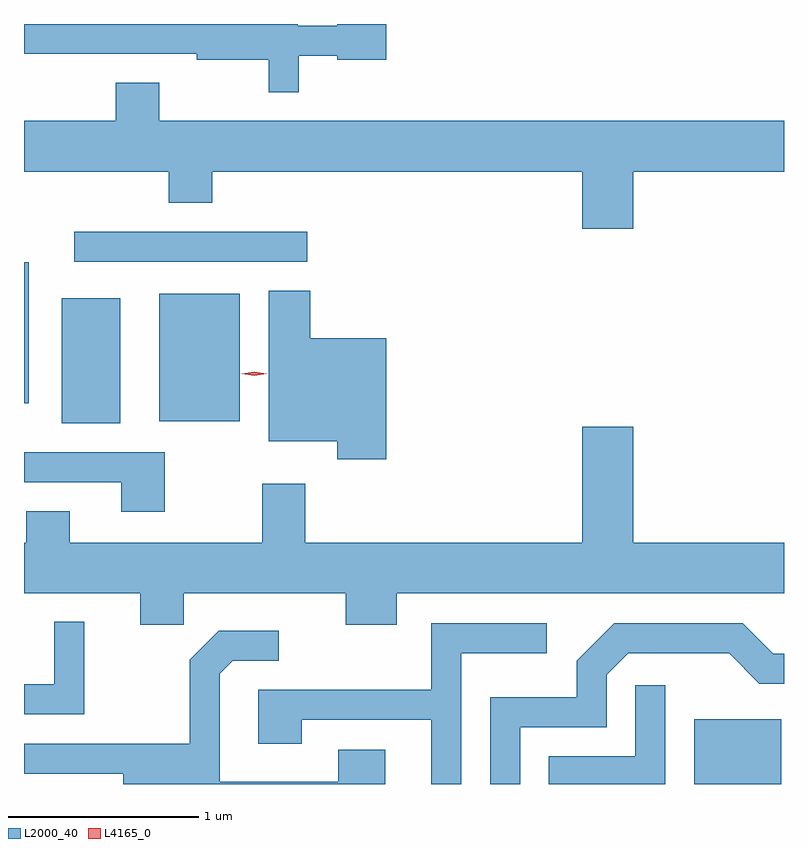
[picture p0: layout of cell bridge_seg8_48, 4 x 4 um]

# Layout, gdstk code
import gdstk
lib = gdstk.Library(unit=1e-6, precision=1e-09)
def R(c, l, rs):  # rectangles x0, y0, x1, y1
    for r in rs: c.add(gdstk.rectangle(r[:2], r[2:], *l))
def P(c, l, *ps):  # polygons
    for p in ps: c.add(gdstk.Polygon(p, *l))
L2000_40 = (2000, 40)
L4165_0 = (4165, 0)

bridge_seg8_48 = lib.new_cell('bridge_seg8_48')
R(bridge_seg8_48, L2000_40, [(1634.246,1926.433,1634.704,1926.774), (1630.916,1928.331,1631.224,1928.989), (1631.431,1928.341,1631.854,1929.014), (1630.718,1928.436,1630.744,1929.179), (1630.983,1929.181,1632.208,1929.339)])
P(bridge_seg8_48, L2000_40, [(1632.164,1930.266),(1632.366,1930.266),(1632.366,1930.246),(1632.624,1930.246),(1632.624,1930.433),(1632.366,1930.433),(1632.366,1930.424),(1632.16,1930.424),(1632.16,1930.433),(1630.718,1930.433),(1630.718,1930.276),(1631.626,1930.276),(1631.626,1930.246),(1632.006,1930.246),(1632.006,1930.073),(1632.164,1930.073)],
  [(1633.924,1929.656),(1634.718,1929.656),(1634.718,1929.924),(1631.429,1929.924),(1631.429,1930.124),(1631.201,1930.124),(1631.201,1929.924),(1630.718,1929.924),(1630.718,1929.656),(1631.481,1929.656),(1631.481,1929.491),(1631.709,1929.491),(1631.709,1929.656),(1633.656,1929.656),(1633.656,1929.356),(1633.924,1929.356)],
  [(1632.624,1928.779),(1632.224,1928.779),(1632.224,1929.029),(1632.006,1929.029),(1632.006,1928.236),(1632.366,1928.236),(1632.366,1928.141),(1632.624,1928.141)],
  [(1631.459,1928.179),(1630.718,1928.179),(1630.718,1928.021),(1631.231,1928.021),(1631.231,1927.866),(1631.459,1927.866)],
  [(1633.656,1928.314),(1633.656,1927.704),(1632.199,1927.704),(1632.199,1928.014),(1631.971,1928.014),(1631.971,1927.704),(1630.959,1927.704),(1630.959,1927.869),(1630.731,1927.869),(1630.731,1927.704),(1630.718,1927.704),(1630.718,1927.436),(1631.331,1927.436),(1631.331,1927.271),(1631.559,1927.271),(1631.559,1927.436),(1632.411,1927.436),(1632.411,1927.271),(1632.679,1927.271),(1632.679,1927.436),(1634.718,1927.436),(1634.718,1927.704),(1633.924,1927.704),(1633.924,1928.314)],
  [(1631.034,1927.288),(1630.876,1927.288),(1630.876,1926.959),(1630.718,1926.959),(1630.718,1926.801),(1631.034,1926.801)],
  [(1633.019,1927.121),(1633.468,1927.121),(1633.468,1927.279),(1632.861,1927.279),(1632.861,1926.929),(1631.951,1926.929),(1631.951,1926.646),(1632.179,1926.646),(1632.179,1926.771),(1632.861,1926.771),(1632.861,1926.433),(1633.019,1926.433)],
  [(1633.329,1926.731),(1633.784,1926.731),(1633.784,1927.009),(1633.897,1927.121),(1634.429,1927.121),(1634.589,1926.961),(1634.718,1926.961),(1634.718,1927.119),(1634.662,1927.119),(1634.502,1927.279),(1633.824,1927.279),(1633.626,1927.082),(1633.626,1926.889),(1633.171,1926.889),(1633.171,1926.433),(1633.329,1926.433)],
  [(1632.619,1926.614),(1632.371,1926.614),(1632.371,1926.444),(1631.749,1926.444),(1631.749,1927.014),(1631.817,1927.081),(1632.058,1927.081),(1632.058,1927.239),(1631.744,1927.239),(1631.591,1927.087),(1631.591,1926.644),(1630.718,1926.644),(1630.718,1926.486),(1631.241,1926.486),(1631.241,1926.433),(1632.619,1926.433)],
  [(1634.094,1926.953),(1633.936,1926.953),(1633.936,1926.579),(1633.481,1926.579),(1633.481,1926.433),(1634.094,1926.433)])
P(bridge_seg8_48, L4165_0, [(1631.93,1928.582),(1631.864,1928.592),(1631.864,1928.592),(1631.864,1928.593),(1631.93,1928.602),(1631.996,1928.592),(1631.996,1928.592),(1631.996,1928.591)])

lib.write_gds('bridge_seg8_48.gds')
